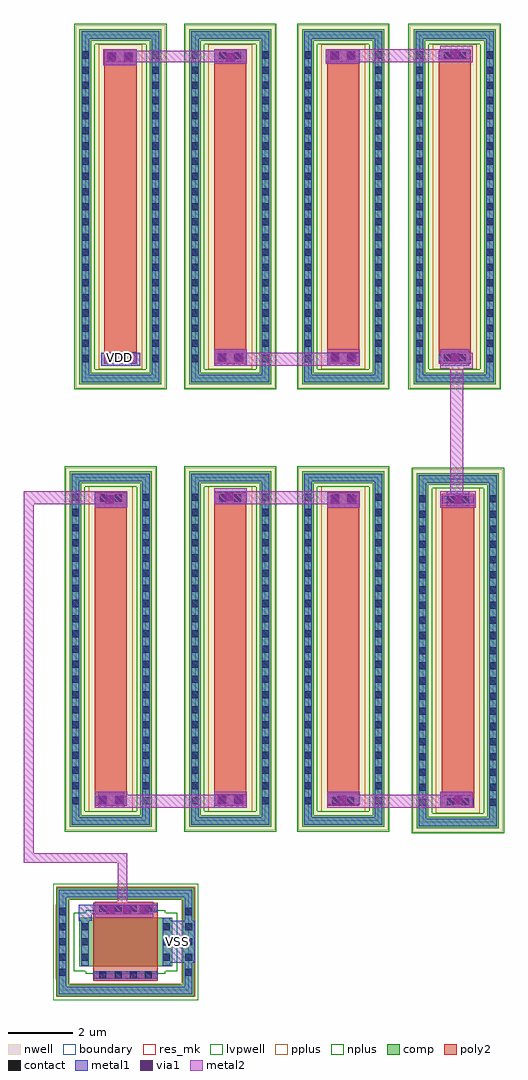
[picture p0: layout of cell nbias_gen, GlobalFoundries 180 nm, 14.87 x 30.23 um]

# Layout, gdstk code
import gdstk
lib = gdstk.Library(unit=1e-6, precision=1e-09)
def R(c, l, rs):  # rectangles x0, y0, x1, y1
    for r in rs: c.add(gdstk.rectangle(r[:2], r[2:], *l))
def A(c, l, x, y, w, h, nx, ny, dx, dy):  # array of equal rectangles
    R(c, l, [(x+i*dx, y+j*dy, x+i*dx+w, y+j*dy+h) for i in range(nx) for j in range(ny)])
boundary = (0, 0)
nwell = (21, 0)
comp = (22, 0)
poly2 = (30, 0)
pplus = (31, 0)
nplus = (32, 0)
contact = (33, 0)
metal1 = (34, 0)
via1 = (35, 0)
metal2 = (36, 0)
res_mk = (110, 5)
lvpwell = (204, 0)

ppolyf_s_yy86er = lib.new_cell('ppolyf_s_YY86ER')
R(ppolyf_s_yy86er, boundary, [(-1.09,-5.32,1.09,5.32)])
R(ppolyf_s_yy86er, nwell, [(-1.39,-5.62,1.39,5.62)])
R(ppolyf_s_yy86er, comp, [(-1.27,-5.5,1.27,-5.14), (-1.27,-5.14,-0.91,5.14), (0.91,-5.14,1.27,5.14), (-1.27,5.14,1.27,5.5)])
R(ppolyf_s_yy86er, poly2, [(-0.5,-4.86,0.5,4.86)])
R(ppolyf_s_yy86er, pplus, [(-0.68,-5.04,0.68,5.04)])
R(ppolyf_s_yy86er, nplus, [(-1.43,-5.66,1.43,-5.03), (-1.43,-5.03,-0.8,5.03), (0.8,-5.03,1.43,5.03), (-1.43,5.03,1.43,5.66)])
A(ppolyf_s_yy86er, contact, -1.2, -4.81, 0.22, 0.22, 1, 21, 0, 0.47)
A(ppolyf_s_yy86er, contact, 0.98, -4.81, 0.22, 0.22, 1, 21, 0, 0.47)
R(ppolyf_s_yy86er, contact, [(-0.345,-4.79,-0.125,-4.57), (0.125,-4.79,0.345,-4.57), (-0.345,4.57,-0.125,4.79), (0.125,4.57,0.345,4.79)])
R(ppolyf_s_yy86er, metal1, [(-1.205,-5.435,1.205,-5.205), (-1.205,-5.205,-0.975,5.205), (0.975,-5.205,1.205,5.205), (-0.49,-4.795,0.49,-4.565), (-0.49,4.565,0.49,4.795), (-1.205,5.205,1.205,5.435)])
R(ppolyf_s_yy86er, res_mk, [(-0.5,-4.5,0.5,4.5)])

nfet_03v3_3rqb8f = lib.new_cell('nfet_03v3_3RQB8F')
R(nfet_03v3_3rqb8f, boundary, [(-1.95,-1.5,1.95,1.5)])
R(nfet_03v3_3rqb8f, comp, [(-2.13,-1.68,2.13,-1.32), (-2.13,-1.32,-1.77,1.32), (1.77,-1.32,2.13,1.32), (-1.44,-0.75,1.44,0.75), (-2.13,1.32,2.13,1.68)])
R(nfet_03v3_3rqb8f, poly2, [(-1,-1.21,1,1.21)])
R(nfet_03v3_3rqb8f, pplus, [(-2.15,-1.7,2.15,-1.3), (-2.15,-1.3,-1.74,-1.15), (1.74,-1.3,2.15,-1.15), (-2.16,-1.15,-1.74,1.15), (1.74,-1.15,2.16,1.15), (-2.15,1.15,-1.74,1.3), (1.74,1.15,2.15,1.3), (-2.15,1.3,2.15,1.7)])
R(nfet_03v3_3rqb8f, nplus, [(-1.23,-0.98,1.23,-0.91), (-1.6,-0.91,1.6,0.91), (-1.23,0.91,1.23,0.98)])
A(nfet_03v3_3rqb8f, contact, -0.815, -1.14, 0.22, 0.22, 4, 2, 0.47, 2.06)
A(nfet_03v3_3rqb8f, contact, -2.06, -1.05, 0.22, 0.22, 1, 5, 0, 0.47)
A(nfet_03v3_3rqb8f, contact, 1.84, -1.05, 0.22, 0.22, 1, 5, 0, 0.47)
A(nfet_03v3_3rqb8f, contact, -1.37, -0.58, 0.22, 0.22, 1, 3, 0, 0.47)
A(nfet_03v3_3rqb8f, contact, 1.15, -0.58, 0.22, 0.22, 1, 3, 0, 0.47)
R(nfet_03v3_3rqb8f, metal1, [(-2.065,-1.615,2.065,-1.385), (-2.065,-1.385,-1.835,1.385), (1.835,-1.385,2.065,1.385), (-0.99,-1.145,0.99,-0.915), (-1.375,-0.74,-1.145,0.74), (1.145,-0.74,1.375,0.74), (-0.99,0.915,0.99,1.145), (-2.065,1.385,2.065,1.615)])
R(nfet_03v3_3rqb8f, lvpwell, [(-2.25,-1.8,2.25,1.8)])

nbias_gen = lib.new_cell('nbias_gen')
R(nbias_gen, nwell, [(13.6,7.9,14,8)])
R(nbias_gen, metal1, [(4.7,-10.4,5.7,-9.1), (2.1,-9.1,2.5,-8.9), (2.1,-8.9,4.4,-8.6), (2.7,-5.6,3.5,-5.1), (6.3,-5.6,7.3,-5.2), (13.3,-5.6,14.3,-5.1), (9.8,-5.5,10.8,-5.1), (2.6,3.7,3.6,4.2), (9.8,3.7,10.8,4.2), (13.5,3.7,14.2,4.2), (6.3,3.8,7.3,4.2), (2.8,8.1,4,8.5), (6.3,8.1,7.3,8.6), (9.8,8.1,10.8,8.5), (13.3,8.1,14.2,8.6), (2.85,17.4,3.9,17.9), (6.3,17.45,7.3,17.9), (9.75,17.45,10.8,17.9), (13.3,17.6,14.2,17.9)])
A(nbias_gen, via1, 2.95, -8.88, 0.26, 0.26, 3, 1, 0.52, 0)
R(nbias_gen, via1, [(2.71,-5.48,2.97,-5.22), (3.23,-5.48,3.49,-5.22), (6.41,-5.48,6.67,-5.22), (6.93,-5.48,7.19,-5.22), (10.12,-5.48,10.38,-5.22), (13.72,-5.48,13.98,-5.22), (2.92,3.82,3.18,4.08), (9.91,3.82,10.17,4.08), (10.43,3.82,10.69,4.08), (13.72,3.82,13.98,4.08), (6.62,3.92,6.88,4.18), (6.41,8.22,6.67,8.48), (6.93,8.22,7.19,8.48), (9.91,8.22,10.17,8.48), (10.43,8.22,10.69,8.48), (13.62,8.22,13.88,8.48), (6.67,17.52,6.93,17.78), (2.985,17.545,3.245,17.805), (3.505,17.545,3.765,17.805), (9.885,17.57,10.145,17.83), (10.405,17.57,10.665,17.83), (13.62,17.62,13.88,17.88)])
A(nbias_gen, metal2, 6.3, -5.2, 1, 0.1, 3, 1, 3.5, 0)
R(nbias_gen, metal2, [(2.6,-9,4.4,-8.5), (3.3,-8.5,3.6,-7.3), (0.4,-7.3,3.6,-7), (0.4,-7,0.7,3.8), (2.6,-5.6,7.3,-5.2), (9.8,-5.6,14.3,-5.2), (2.6,-5.2,3.6,-5.1), (2.6,3.7,3.6,3.8), (9.8,3.7,10.8,3.8), (13.3,3.7,14.4,4.2), (0.4,3.8,3.6,4.2), (6.3,3.8,10.8,4.2), (6.3,4.2,7.3,4.3), (13.6,4.2,14,8), (13.3,8,14.3,8.5), (6.3,8.1,10.8,8.5), (6.3,8.5,7.3,8.6), (9.8,8.5,10.8,8.6), (13.3,8.5,14.2,8.6), (2.85,17.4,3.9,17.5), (6.3,17.45,7.3,17.5), (9.75,17.45,10.8,17.5), (2.85,17.5,7.3,17.85), (9.75,17.5,14.3,17.9), (2.85,17.85,3.9,17.9), (6.3,17.85,7.3,17.9), (13.3,17.9,14.3,18)])
nbias_gen.add(gdstk.Reference(ppolyf_s_yy86er, (3.09,-0.68)))
nbias_gen.add(gdstk.Reference(ppolyf_s_yy86er, (6.79,-0.68)))
nbias_gen.add(gdstk.Reference(ppolyf_s_yy86er, (10.29,-0.68)))
nbias_gen.add(gdstk.Reference(ppolyf_s_yy86er, (13.84,-0.73)))
nbias_gen.add(gdstk.Reference(ppolyf_s_yy86er, (13.74,13.02)))
nbias_gen.add(gdstk.Reference(ppolyf_s_yy86er, (10.29,13.02)))
nbias_gen.add(gdstk.Reference(ppolyf_s_yy86er, (6.79,13.02)))
nbias_gen.add(gdstk.Reference(ppolyf_s_yy86er, (3.39,13.02)))
nbias_gen.add(gdstk.Reference(nfet_03v3_3rqb8f, (3.55,-9.75)))
nbias_gen.add(gdstk.Label('VSS', (5.15,-9.75), layer=34, texttype=0))
nbias_gen.add(gdstk.Label('VDD', (3.35,8.35), layer=34, texttype=0))

lib.write_gds('nbias_gen.gds')
